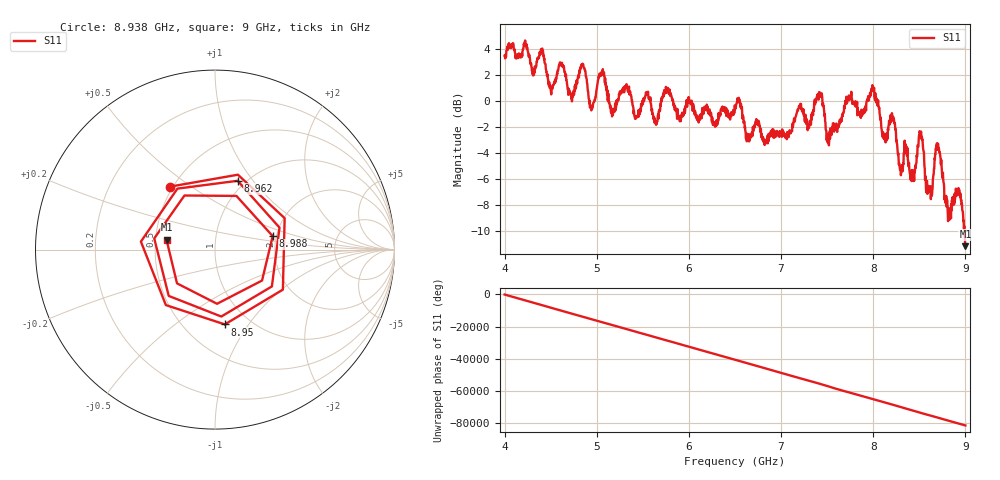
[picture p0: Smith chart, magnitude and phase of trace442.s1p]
! Created with skrf 1.8.0 (http://scikit-rf.org).
# Hz S RI R 50.0
!freq ReS11 ImS11
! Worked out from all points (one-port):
!   1601 points, 4 GHz to 9 GHz, reference 50 ohm
!   lowest |S11| = -11.2 dB at 9 GHz (marker M1), VSWR 1.76, Z = 28.6 + j3.38 ohm
!   |S11| at or under -10 dB: 8.990531 GHz to end of sweep
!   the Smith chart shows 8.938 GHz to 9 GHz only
!   S11 on the Smith chart (normalised r, x): 8.938 GHz: 0.48, +0.41; 8.95 GHz: 0.77, -0.78; 8.962 GHz: 0.92, +0.84; 8.988 GHz: 1.91, +0.32; 9 GHz: 0.57, +0.07
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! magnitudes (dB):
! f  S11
! 4 GHz  3.5
! 4.403 GHz  3.7
! 4.506 GHz  0.5
! 4.625 GHz  2.7
! 4.731 GHz  0.0
! 4.853 GHz  2.8
! 4.944 GHz  -0.6
! 5.053 GHz  2.2
! 5.166 GHz  -1.2
! 5.25 GHz  0.7
! 5.875 GHz  -0.6
! 6.5 GHz  -0.4
! 6.644 GHz  -2.6
! 7.125 GHz  -1.7
! 7.419 GHz  0.7
! 7.519 GHz  -3.4
! 7.75 GHz  0.2
! 8.003 GHz  1.0
! 8.375 GHz  -4.5
! 8.519 GHz  -2.4
! 8.619 GHz  -7.0
! 8.7 GHz  -3.6
! 8.819 GHz  -8.2
! 8.938 GHz  -7.3
! 8.95 GHz  -7.5
! 8.962 GHz  -7.9
! 8.988 GHz  -9.6
! 9 GHz  -11.2
